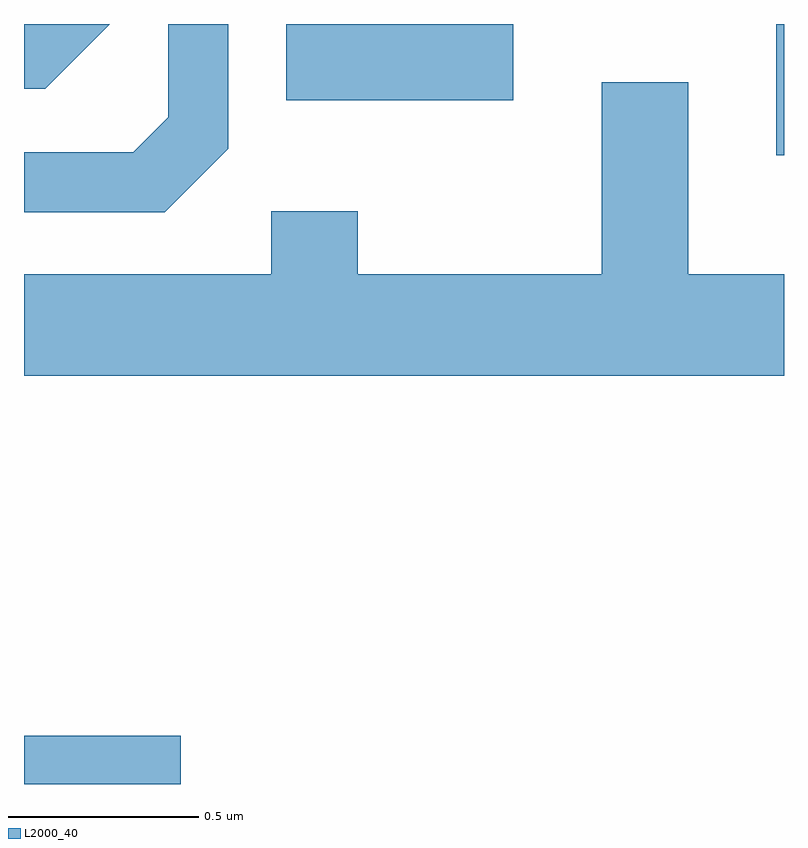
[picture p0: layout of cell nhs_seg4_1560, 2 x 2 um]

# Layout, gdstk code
import gdstk
lib = gdstk.Library(unit=1e-6, precision=1e-09)
def R(c, l, rs):  # rectangles x0, y0, x1, y1
    for r in rs: c.add(gdstk.rectangle(r[:2], r[2:], *l))
def P(c, l, *ps):  # polygons
    for p in ps: c.add(gdstk.Polygon(p, *l))
L2000_40 = (2000, 40)

nhs_seg4_1560 = lib.new_cell('nhs_seg4_1560')
R(nhs_seg4_1560, L2000_40, [(196.611,1306.982,197.024,1307.109), (198.591,1308.636,198.611,1308.982), (197.301,1308.781,197.899,1308.982)])
P(nhs_seg4_1560, L2000_40, [(197.149,1308.654),(197.149,1308.982),(196.991,1308.982),(196.991,1308.737),(196.899,1308.644),(196.611,1308.644),(196.611,1308.486),(196.982,1308.486)],
  [(196.837,1308.982),(196.611,1308.982),(196.611,1308.811),(196.667,1308.811)],
  [(198.611,1308.324),(198.359,1308.324),(198.359,1308.829),(198.131,1308.829),(198.131,1308.324),(197.489,1308.324),(197.489,1308.489),(197.261,1308.489),(197.261,1308.324),(196.611,1308.324),(196.611,1308.056),(198.611,1308.056)])

lib.write_gds('nhs_seg4_1560.gds')
